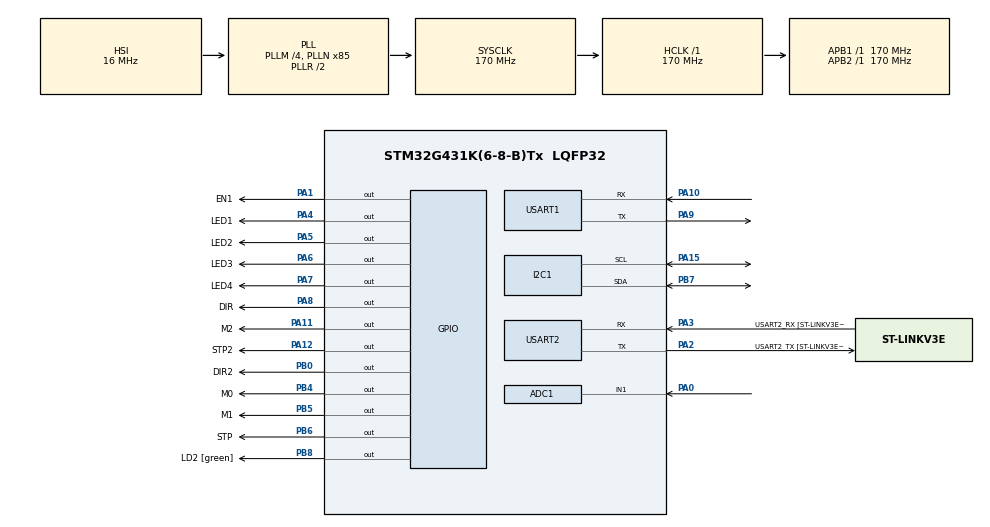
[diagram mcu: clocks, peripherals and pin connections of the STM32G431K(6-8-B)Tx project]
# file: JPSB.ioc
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ADC1.Channel-2\#ChannelRegularConversion=ADC_CHANNEL_1
ADC1.NbrOfConversionFlag=1
ADC1.OffsetNumber-2\#ChannelRegularConversion=ADC_OFFSET_NONE
ADC1.Rank-2\#ChannelRegularConversion=1
ADC1.SamplingTime-2\#ChannelRegularConversion=ADC_SAMPLETIME_2CYCLES_5
ADC1.master=1
I2C1.Timing=0x30A0A7FB
Mcu.Family=STM32G4
Mcu.Name=STM32G431K(6-8-B)Tx
Mcu.Package=LQFP32
NVIC.PriorityGroup=NVIC_PRIORITYGROUP_4
NVIC.TIM6_DAC_IRQn=true\:2\:0\:true\:false\:true\:true\:true\:true
NVIC.TIM7_IRQn=true\:4\:0\:true\:false\:true\:true\:true\:true
NVIC.USART1_IRQn=true\:1\:0\:true\:false\:true\:true\:true\:true
PA0.Mode=IN1-Single-Ended
PA0.Signal=ADC1_IN1
PA1.GPIO_Label=EN1
PA1.Signal=GPIO_Output
PA10.Mode=Asynchronous
PA10.Signal=USART1_RX
PA11.GPIO_Label=M2
PA11.Signal=GPIO_Output
PA12.GPIO_Label=STP2
PA12.GPIO_PuPd=GPIO_PULLUP
PA12.GPIO_Speed=GPIO_SPEED_FREQ_VERY_HIGH
PA12.Signal=GPIO_Output
PA13.GPIO_Label=T_SWDIO
PA13.Mode=Serial_Wire
PA13.Signal=SYS_JTMS-SWDIO
PA14.GPIO_Label=T_SWCLK
PA14.Mode=Serial_Wire
PA14.Signal=SYS_JTCK-SWCLK
PA15.Mode=I2C
PA15.Signal=I2C1_SCL
PA2.GPIO_Label=USART2_TX [ST-LINKV3E_VCP_RX]
PA2.Mode=Asynchronous
PA2.Signal=USART2_TX
PA3.GPIO_Label=USART2_RX [ST-LINKV3E_VCP_TX]
PA3.Mode=Asynchronous
PA3.Signal=USART2_RX
PA4.GPIO_Label=LED1
PA4.GPIO_Speed=GPIO_SPEED_FREQ_VERY_HIGH
PA4.Signal=GPIO_Output
PA5.GPIO_Label=LED2
PA5.GPIO_Speed=GPIO_SPEED_FREQ_VERY_HIGH
PA5.Signal=GPIO_Output
PA6.GPIO_Label=LED3
PA6.GPIO_Speed=GPIO_SPEED_FREQ_VERY_HIGH
PA6.Signal=GPIO_Output
PA7.GPIO_Label=LED4
PA7.GPIO_Speed=GPIO_SPEED_FREQ_VERY_HIGH
PA7.Signal=GPIO_Output
PA8.GPIO_Label=DIR
PA8.GPIO_PuPd=GPIO_PULLUP
PA8.GPIO_Speed=GPIO_SPEED_FREQ_VERY_HIGH
PA8.Signal=GPIO_Output
PA9.Mode=Asynchronous
PA9.Signal=USART1_TX
PB0.GPIO_Label=DIR2
PB0.GPIO_PuPd=GPIO_PULLUP
PB0.GPIO_Speed=GPIO_SPEED_FREQ_VERY_HIGH
PB0.Signal=GPIO_Output
PB3.GPIO_Label=T_SWO
PB3.Signal=SYS_JTDO-SWO
PB4.GPIO_Label=M0
PB4.Signal=GPIO_Output
PB5.GPIO_Label=M1
PB5.Signal=GPIO_Output
PB6.GPIO_Label=STP
PB6.GPIO_PuPd=GPIO_PULLUP
PB6.GPIO_Speed=GPIO_SPEED_FREQ_VERY_HIGH
PB6.Signal=GPIO_Output
PB7.Mode=I2C
PB7.Signal=I2C1_SDA
PB8-BOOT0.GPIO_Label=LD2 [green]
PB8-BOOT0.Signal=GPIO_Output
ProjectManager.HeapSize=0x200
ProjectManager.StackSize=0x400
ProjectManager.TargetToolchain=STM32CubeIDE
RCC.ADC12Freq_Value=170000000
RCC.AHBFreq_Value=170000000
RCC.APB1Freq_Value=170000000
RCC.APB1TimFreq_Value=170000000
RCC.APB2Freq_Value=170000000
RCC.APB2TimFreq_Value=170000000
RCC.CortexFreq_Value=170000000
RCC.EXTERNAL_CLOCK_VALUE=12288000
RCC.HCLKFreq_Value=170000000
RCC.HSE_VALUE=8000000
RCC.HSI48_VALUE=48000000
RCC.HSI_VALUE=16000000
RCC.LSE_VALUE=32768
RCC.PLLM=RCC_PLLM_DIV4
RCC.PLLN=85
RCC.SYSCLKFreq_VALUE=170000000
RCC.SYSCLKSource=RCC_SYSCLKSOURCE_PLLCLK
RCC.USBFreq_Value=170000000
RCC.VCOOutputFreq_Value=340000000
TIM6.PeriodNoDither=8502
TIM7.PeriodNoDither=999
TIM7.Prescaler=1699
USART1.DMADisableonRxErrorParam=ADVFEATURE_DMA_ENABLEONRXERROR
USART1.OverrunDisableParam=ADVFEATURE_OVERRUN_DISABLE
USART1.VirtualMode-Asynchronous=VM_ASYNC
USART2.VirtualMode-Asynchronous=VM_ASYNC
USART2.WordLength=WORDLENGTH_8B
VP_TIM6_VS_ClockSourceINT.Mode=Enable_Timer
VP_TIM7_VS_ClockSourceINT.Mode=Enable_Timer
board=NUCLEO-G431KB

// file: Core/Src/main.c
/* USER CODE BEGIN Header */
/**
  ******************************************************************************
  * @file           : main.c
  * @brief          : Main program body
  ******************************************************************************
  * @attention
  *
  * Copyright (c) 2023 STMicroelectronics.
  * All rights reserved.
  *
  * This software is licensed under terms that can be found in the LICENSE file
  * in the root directory of this software component.
  * If no LICENSE file comes with this software, it is provided AS-IS.
  *
  ******************************************************************************
  */
/* USER CODE END Header */
#include "main.h"
#include "adc.h"
#include "i2c.h"
#include "tim.h"
#include "usart.h"
#include "gpio.h"

/* USER CODE BEGIN Includes */
#include <stdint.h>
#include <float.h>
#include <math.h>
#include <string.h>
#include "LED_and_ADC.h"
#include "UART_ESP.h"
/* USER CODE END Includes */

/* USER CODE BEGIN PV */
int16_t gyroData=0;
int16_t accData=0;
float angleGyro= 0.0f;
float angleAcc= 0.0f;
float angleX= 0.0f;
float SumAngleGyro= 0.0f;
float voltage=0;
float motorRPM=0.0f;
int stepTime = 0;
//uint8_t Received[8];
/* USER CODE END PV */

void SystemClock_Config(void);
/* USER CODE BEGIN PFP */

float error; // błąd regulacji
float integral = 0; // całka błędu
float derivative; // pochodna błędu
float lastError = 0; // ostatni błąd
float updatePID(float angle,float setpoint, float kp, float ki, float kd)
{

  // obliczenie błędu regulacji
  error = setpoint - angle;

  // obliczenie całki błędu
  integral = integral + (error*0.01f);

  // obliczenie pochodnej błędu
  derivative = (error - lastError)*100;

  // zapamiętanie ostatniego błędu
  lastError = error;

  // obliczenie wyjścia kontrolera
  return kp*error + ki*integral + kd*derivative;

}
/* USER CODE END PFP */

/* USER CODE BEGIN 0 */
void HAL_TIM_PeriodElapsedCallback(TIM_HandleTypeDef *htim)
{
  if (htim == &htim7) {			//przerwanie pomiarow i regulatora pid 100hz
	  //HAL_GPIO_TogglePin(LED4_GPIO_Port, LED4_Pin);
	  gyroData = mpu_getGyroData();
	  accData = mpu_getAccData();

	  angleGyro+=(gyroData+93)*0.01*0.0076;

	  angleAcc = (accData*0.0001204)*90;

	  SumAngleGyro=(gyroData-65)*0.01*0.0076+angleX;
	  angleX = 0.999f * SumAngleGyro+ (1- 0.999f) * angleAcc;
	  //if( fabs(angleX)> 90){
		//  HAL_GPIO_WritePin(EN1_GPIO_Port, EN1_Pin, 1);
	  //}else{
		//  HAL_GPIO_WritePin(EN1_GPIO_Port, EN1_Pin, 0);
	  //}
	  motorRPM = updatePID(angleX, -4.0f, 6.0f ,200.0f , 0.01f);		//w miare dziala 4.5 0.5 2.0

  }
  if (htim == &htim6) {

  		  stepTime=stepTime+50000;			// czas miedzy krokami timera, powiekszone * 100

  		  if(stepTime>=60000000000.0f/(800.0f*fabs(motorRPM))&& fabs(motorRPM)>0.5f){   // 800- kroki do pelnego obrotu * ilosc obrotow na minute - powiekszone *100

  			  if(motorRPM>0){
  				//HAL_GPIO_WritePin(DIR_GPIO_Port, DIR_Pin, 1);
  				GPIOA->ODR |= (1<<8);
  				//HAL_GPIO_WritePin(DIR2_GPIO_Port, DIR2_Pin, 1);
  				GPIOB->ODR |= (1<<0);
  				//HAL_GPIO_WritePin(LED3_GPIO_Port, LED3_Pin, 1);
  				GPIOA->ODR |= (1<<6);
  			  }else{
  				//HAL_GPIO_WritePin(DIR_GPIO_Port, DIR_Pin, 0);
  				//GPIOA->ODR |= (0<<8);
  				GPIOA->ODR &= ~(1<<8);
  				//HAL_GPIO_WritePin(DIR2_GPIO_Port, DIR2_Pin, 0);
  				//GPIOB->ODR |= (0<<0);
  				GPIOB->ODR &= ~(1<<0);
  				//HAL_GPIO_WritePin(LED3_GPIO_Port, LED3_Pin, 0);
  				//GPIOA->ODR |= (0<<6);
  				GPIOA->ODR &= ~(1<<6);

  			  }
  			  //printf("predkosc: %s\n\r", predkosc);
  			  //HAL_GPIO_WritePin(STP2_GPIO_Port, STP2_Pin,1);
  			  GPIOA->ODR |= (1<<12);
  			  //HAL_GPIO_WritePin(STP_GPIO_Port, STP_Pin,1);
  			  GPIOB->ODR |= (1<<6);

  			  //HAL_GPIO_WritePin(STP2_GPIO_Port, STP2_Pin,0);
  			  //GPIOA->ODR |= (0<<12);
  			  GPIOA->ODR &= ~(1<<12);
  			  //HAL_GPIO_WritePin(STP_GPIO_Port, STP_Pin,0);
  			  //GPIOB->ODR |= (0<<6);
  			  GPIOB->ODR &= ~(1<<6);

  			  //HAL_GPIO_TogglePin(LED1_GPIO_Port, LED1_Pin);
  			  //printf("krok\r\n");
  			  //printf("krok");

  	    stepTime=0;

  		  }
  	  }
}
/* USER CODE END 0 */

int main(void)
{

  /* MCU Configuration--------------------------------------------------------*/

  /* Reset of all peripherals, Initializes the Flash interface and the Systick. */
  HAL_Init();

  /* Configure the system clock */
  SystemClock_Config();

  /* Initialize all configured peripherals */
  MX_GPIO_Init();
  MX_USART2_UART_Init();
  MX_USART1_UART_Init();
  MX_I2C1_Init();
  MX_ADC1_Init();
  MX_TIM6_Init();
  MX_TIM7_Init();
  /* USER CODE BEGIN 2 */

  HAL_GPIO_WritePin(M0_GPIO_Port, M0_Pin, 0);
  HAL_GPIO_WritePin(M1_GPIO_Port, M1_Pin, 1);
  HAL_GPIO_WritePin(M2_GPIO_Port, M2_Pin, 0);
  HAL_GPIO_WritePin(DIR2_GPIO_Port, DIR2_Pin, 0);
  HAL_GPIO_WritePin(STP2_GPIO_Port, STP2_Pin, 0);

  HAL_GPIO_WritePin(DIR_GPIO_Port, DIR_Pin, 0);
  HAL_GPIO_WritePin(STP_GPIO_Port, STP_Pin, 0);

  HAL_GPIO_WritePin(EN1_GPIO_Port, EN1_Pin, 0);

  //HAL_GPIO_WritePin(LED1_GPIO_Port, LED1_Pin, 0);
  //HAL_GPIO_WritePin(LED2_GPIO_Port, LED2_Pin, 0);
  //HAL_GPIO_WritePin(LED3_GPIO_Port, LED3_Pin, 0);
  //HAL_GPIO_WritePin(LED4_GPIO_Port, LED4_Pin, 0);
  HAL_Delay(250);
  MPU6050_Init();
  HAL_Delay(250);
  HAL_TIM_Base_Start_IT(&htim7);
  HAL_TIM_Base_Start_IT(&htim6);

  //HAL_ADCEx_Calibration_Start(&hadc1, ADC_SINGLE_ENDED);
  //LED_ADC_Init();

  //voltage = getBatteryVoltage();

  HAL_UART_Receive_IT(&huart1, Received, 26);
  /* USER CODE END 2 */

  /* Infinite loop */
  /* USER CODE BEGIN WHILE */

  uint32_t last_ms = HAL_GetTick();
  while (1)
  {

	  uint32_t now = HAL_GetTick();
	  //printf("x= %d\n",now);
	  if(now - last_ms > 5000){
		  //HAL_GPIO_TogglePin(LED1_GPIO_Port, LED1_Pin);
		 // voltage = getBatteryVoltage();

		  last_ms=now;

	  }
    /* USER CODE END WHILE */

  }
}

void SystemClock_Config(void)
{
  RCC_OscInitTypeDef RCC_OscInitStruct = {0};
  RCC_ClkInitTypeDef RCC_ClkInitStruct = {0};

  /** Configure the main internal regulator output voltage
  */
  HAL_PWREx_ControlVoltageScaling(PWR_REGULATOR_VOLTAGE_SCALE1_BOOST);

  /** Initializes the RCC Oscillators according to the specified parameters
  * in the RCC_OscInitTypeDef structure.
  */
  RCC_OscInitStruct.OscillatorType = RCC_OSCILLATORTYPE_HSI;
  RCC_OscInitStruct.HSIState = RCC_HSI_ON;
  RCC_OscInitStruct.HSICalibrationValue = RCC_HSICALIBRATION_DEFAULT;
  RCC_OscInitStruct.PLL.PLLState = RCC_PLL_ON;
  RCC_OscInitStruct.PLL.PLLSource = RCC_PLLSOURCE_HSI;
  RCC_OscInitStruct.PLL.PLLM = RCC_PLLM_DIV4;
  RCC_OscInitStruct.PLL.PLLN = 85;
  RCC_OscInitStruct.PLL.PLLP = RCC_PLLP_DIV2;
  RCC_OscInitStruct.PLL.PLLQ = RCC_PLLQ_DIV2;
  RCC_OscInitStruct.PLL.PLLR = RCC_PLLR_DIV2;
  if (HAL_RCC_OscConfig(&RCC_OscInitStruct) != HAL_OK)
  {
    Error_Handler();
  }

  /** Initializes the CPU, AHB and APB buses clocks
  */
  RCC_ClkInitStruct.ClockType = RCC_CLOCKTYPE_HCLK|RCC_CLOCKTYPE_SYSCLK
                              |RCC_CLOCKTYPE_PCLK1|RCC_CLOCKTYPE_PCLK2;
  RCC_ClkInitStruct.SYSCLKSource = RCC_SYSCLKSOURCE_PLLCLK;
  RCC_ClkInitStruct.AHBCLKDivider = RCC_SYSCLK_DIV1;
  RCC_ClkInitStruct.APB1CLKDivider = RCC_HCLK_DIV1;
  RCC_ClkInitStruct.APB2CLKDivider = RCC_HCLK_DIV1;

  if (HAL_RCC_ClockConfig(&RCC_ClkInitStruct, FLASH_LATENCY_4) != HAL_OK)
  {
    Error_Handler();
  }
}

void Error_Handler(void)
{
  __disable_irq();
  while (1)
  {
  }
}
